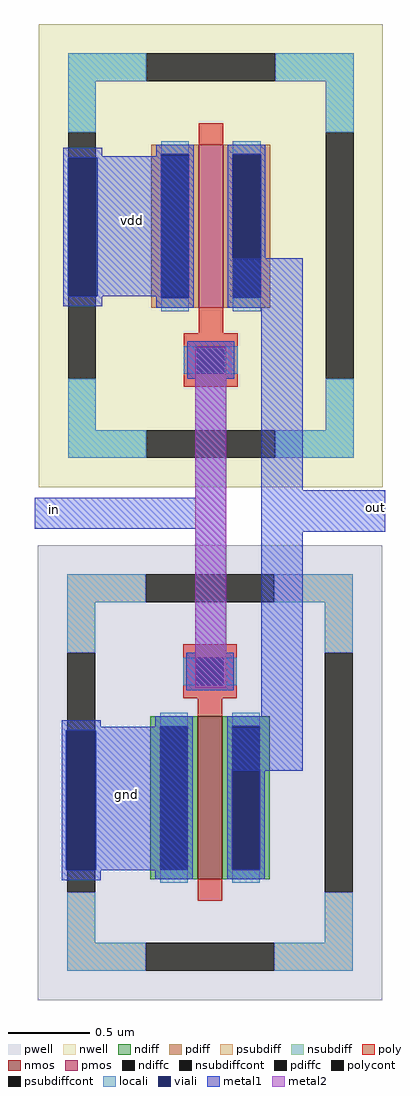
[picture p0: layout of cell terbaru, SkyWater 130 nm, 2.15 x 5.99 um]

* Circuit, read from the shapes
.subckt terbaru vdd gnd out in
XM1 out in gnd gnd sky130_fd_pr__nfet_01v8 w=1 l=0.15
XM2 out in vdd vdd sky130_fd_pr__pfet_01v8 w=1 l=0.15
.ends

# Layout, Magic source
magic
tech sky130A
magscale 1 2
<< viali >>
rect -16 810 20 980
rect -18 106 18 278
<< metal1 >>
rect -22 982 26 992
rect -22 980 132 982
rect -22 810 -16 980
rect 20 810 132 980
rect 221 856 272 857
rect -22 798 26 810
rect 182 804 272 856
rect 140 563 178 748
rect -57 525 178 563
rect 140 330 178 525
rect 221 572 272 804
rect 221 521 373 572
rect -24 282 24 290
rect -24 278 134 282
rect 221 280 272 521
rect -24 106 -18 278
rect 18 106 134 278
rect 184 228 272 280
rect -24 94 24 106
<< metal2 >>
rect 140 330 178 748
use sky130_fd_pr__nfet_01v8_64Z3AY  XM1
transform 1 0 158 0 1 226
box -211 -279 211 279
use sky130_fd_pr__pfet_01v8_LGS3BL  XM2
transform 1 0 159 0 1 860
box -211 -284 211 284
<< labels >>
flabel metal1 62 902 64 904 0 FreeSans 80 0 0 0 vdd
port 0 nsew
flabel metal1 54 198 56 200 0 FreeSans 80 0 0 0 gnd
port 1 nsew
flabel metal1 360 550 362 552 0 FreeSans 80 0 0 0 out
port 3 nsew
flabel metal1 -34 548 -32 550 0 FreeSans 80 0 0 0 in
port 5 nsew
<< end >>

# cell sky130_fd_pr__nfet_01v8_64Z3AY: kit device sky130_fd_pr__nfet_01v8, w 1.0 l 0.15 m 1 nf 1 diffcov 100 polycov 100 guard 1 glc 1 grc 1 gtc 1 gbc 1 tbcov 100 rlcov 100 topc 1 botc 0 poverlap 0 doverlap 1 lmin 0.15 wmin 0.42 compatible {sky130_fd_pr__nfet_01v8 sky130_fd_pr__nfet_01v8_lvt sky130_fd_bs_flash__special_sonosfet_star sky130_fd_pr__nfet_g5v0d10v5 sky130_fd_pr__nfet_05v0_nvt sky130_fd_pr__nfet_03v3_nvt} full_metal 1 viasrc 100 viadrn 100 viagate 100 viagb 0 viagr 0 viagl 0 viagt 0

# cell sky130_fd_pr__pfet_01v8_LGS3BL: kit device sky130_fd_pr__pfet_01v8, w 1.0 l 0.15 m 1 nf 1 diffcov 100 polycov 100 guard 1 glc 1 grc 1 gtc 1 gbc 1 tbcov 100 rlcov 100 topc 0 botc 1 poverlap 0 doverlap 1 lmin 0.15 wmin 0.42 compatible {sky130_fd_pr__pfet_01v8 sky130_fd_pr__pfet_01v8_lvt sky130_fd_pr__pfet_01v8_hvt sky130_fd_pr__pfet_g5v0d10v5} full_metal 1 viasrc 100 viadrn 100 viagate 100 viagb 0 viagr 0 viagl 0 viagt 0
